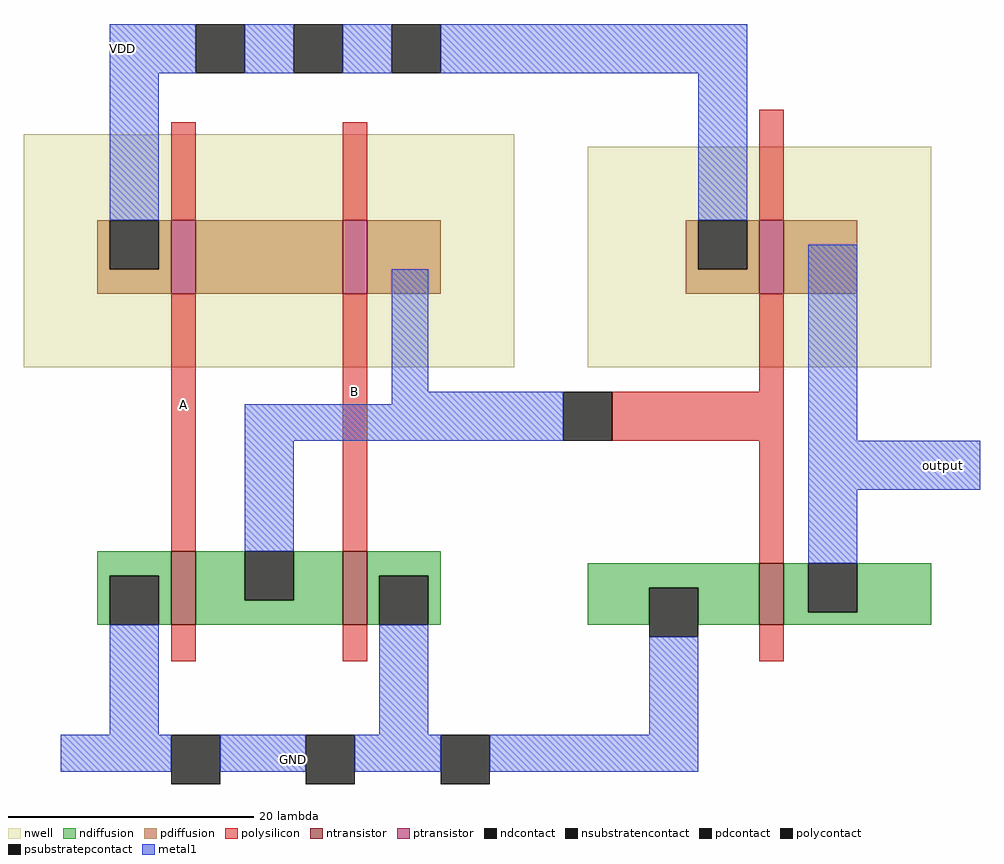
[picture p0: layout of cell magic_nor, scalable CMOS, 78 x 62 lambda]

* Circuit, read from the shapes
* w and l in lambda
.subckt magic_nor A B GND VDD output
M1 n1 A GND GND nfet w=6 l=2
M2 GND B n1 GND nfet w=6 l=2
M3 output n1 GND GND nfet w=5 l=2
M4 n2 A VDD n3 pfet w=6 l=2
M5 n4 B n2 n3 pfet w=6 l=2
M6 n5 n1 VDD n6 pfet w=6 l=2
.ends

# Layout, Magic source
magic
tech scmos
<< nwell >>
rect -23 11 17 30
rect 23 11 51 29
<< polysilicon >>
rect -11 23 -9 31
rect 3 23 5 31
rect 37 23 39 32
rect -11 -4 -9 17
rect 3 -4 5 17
rect 37 9 39 17
rect 25 5 39 9
rect 37 -5 39 5
rect -11 -13 -9 -10
rect 3 -13 5 -10
rect 37 -13 39 -10
<< ndiffusion >>
rect -17 -6 -11 -4
rect -17 -10 -16 -6
rect -12 -10 -11 -6
rect -9 -8 -5 -4
rect -1 -8 3 -4
rect -9 -10 3 -8
rect 5 -6 11 -4
rect 5 -10 6 -6
rect 10 -10 11 -6
rect 23 -7 37 -5
rect 23 -10 28 -7
rect 32 -10 37 -7
rect 39 -9 41 -5
rect 45 -9 51 -5
rect 39 -10 51 -9
<< pdiffusion >>
rect -17 19 -16 23
rect -12 19 -11 23
rect -17 17 -11 19
rect -9 17 3 23
rect 5 17 11 23
rect 31 19 32 23
rect 36 19 37 23
rect 31 17 37 19
rect 39 17 45 23
<< metal1 >>
rect -16 35 -9 39
rect -5 35 -1 39
rect 3 35 7 39
rect 11 35 36 39
rect -16 23 -12 35
rect 32 23 36 35
rect 7 9 10 19
rect 7 8 21 9
rect -5 5 21 8
rect 41 5 45 21
rect -5 -4 -1 5
rect 41 1 55 5
rect 41 -5 45 1
rect -16 -19 -12 -10
rect 6 -19 10 -10
rect 28 -19 32 -11
rect -20 -22 -11 -19
rect -7 -22 0 -19
rect 4 -22 11 -19
rect 15 -22 32 -19
<< ntransistor >>
rect -11 -10 -9 -4
rect 3 -10 5 -4
rect 37 -10 39 -5
<< ptransistor >>
rect -11 17 -9 23
rect 3 17 5 23
rect 37 17 39 23
<< polycontact >>
rect 21 5 25 9
<< ndcontact >>
rect -16 -10 -12 -6
rect -5 -8 -1 -4
rect 6 -10 10 -6
rect 28 -11 32 -7
rect 41 -9 45 -5
<< pdcontact >>
rect -16 19 -12 23
rect 32 19 36 23
<< psubstratepcontact >>
rect -11 -23 -7 -19
rect 0 -23 4 -19
rect 11 -23 15 -19
<< nsubstratencontact >>
rect -9 35 -5 39
rect -1 35 3 39
rect 7 35 11 39
<< labels >>
rlabel metal1 -1 -21 -1 -21 1 GND
rlabel metal1 -15 37 -15 37 5 VDD
rlabel polysilicon -10 8 -10 8 1 A
rlabel polysilicon 4 9 4 9 1 B
rlabel metal1 52 3 52 3 7 output
<< end >>
